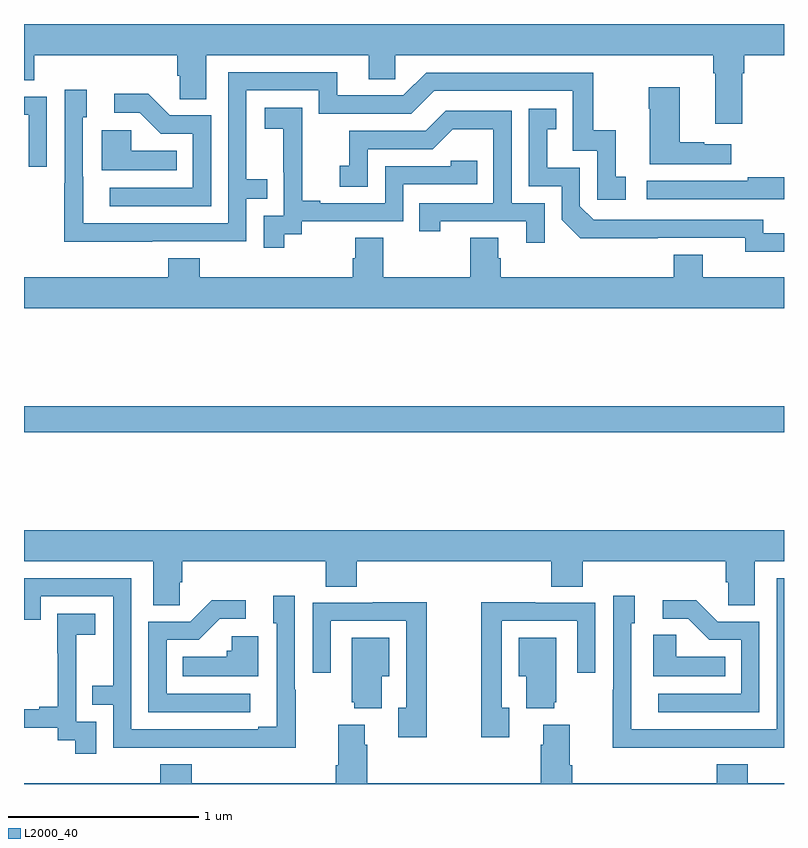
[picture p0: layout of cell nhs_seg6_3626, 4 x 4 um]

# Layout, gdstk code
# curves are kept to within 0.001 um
import gdstk
lib = gdstk.Library(unit=1e-6, precision=1e-09)
def R(c, l, rs):  # rectangles x0, y0, x1, y1
    for r in rs: c.add(gdstk.rectangle(r[:2], r[2:], *l))
def P(c, l, *ps):  # polygons
    for p in ps: c.add(gdstk.Polygon(p, *l))
L2000_40 = (2000, 40)

nhs_seg6_3626 = lib.new_cell('nhs_seg6_3626')
R(nhs_seg6_3626, L2000_40, [(323,945.352,327,945.488)])
P(nhs_seg6_3626, L2000_40, [(326.779,947.24),(326.792,947.24),(326.792,947.336),(327,947.336),(327,947.5),(323,947.5),(323,947.203),(323.054,947.203),(323.054,947.336),(323.807,947.336),(323.807,947.227),(323.82,947.227),(323.82,947.104),(323.959,947.104),(323.959,947.336),(324.815,947.336),(324.815,947.209),(324.954,947.209),(324.954,947.336),(326.627,947.336),(326.627,947.24),(326.639,947.24),(326.639,946.974),(326.779,946.974)],
  [(323.675,946.356),(324.171,946.356),(324.171,946.581),(324.281,946.581),(324.281,946.682),(324.171,946.682),(324.171,947.151),(324.552,947.151),(324.552,947.028),(325.038,947.028),(325.158,947.148),(325.887,947.148),(325.887,946.833),(326.016,946.833),(326.016,946.575),(326.167,946.575),(326.167,946.695),(326.114,946.695),(326.114,946.942),(325.996,946.942),(325.996,947.244),(325.116,947.244),(324.996,947.124),(324.649,947.124),(324.649,947.247),(324.075,947.247),(324.075,946.452),(323.311,946.452),(323.31,947.01),(323.329,947.01),(323.329,947.155),(323.214,947.155),(323.214,946.661),(323.212,946.661),(323.212,946.355)],
  [(326.722,946.867),(326.579,946.867),(326.579,946.877),(326.452,946.877),(326.452,947.167),(326.287,947.167),(326.287,947.054),(326.294,947.054),(326.294,946.763),(326.722,946.763)],
  [(323.985,947.019),(323.766,947.019),(323.653,947.132),(323.475,947.132),(323.475,947.034),(323.609,947.034),(323.72,946.923),(323.889,946.923),(323.889,946.638),(323.451,946.638),(323.451,946.542),(323.985,946.542)],
  [(323.121,947.118),(323,947.118),(323,947.022),(323.025,947.022),(323.025,946.749),(323.121,946.749)],
  [(324.37,946.393),(324.462,946.393),(324.462,946.461),(324.996,946.461),(324.996,946.656),(325.385,946.656),(325.385,946.779),(325.245,946.779),(325.245,946.752),(324.9,946.752),(324.9,946.557),(324.559,946.557),(324.559,946.57),(324.464,946.57),(324.464,946.853),(324.465,946.853),(324.465,947.059),(324.267,947.059),(324.267,946.949),(324.365,946.949),(324.365,946.721),(324.366,946.721),(324.366,946.491),(324.261,946.491),(324.261,946.323),(324.37,946.323)],
  [(327,946.398),(326.892,946.398),(326.892,946.47),(325.998,946.47),(325.926,946.542),(325.926,946.743),(325.753,946.743),(325.753,946.947),(325.802,946.947),(325.802,947.053),(325.656,947.053),(325.656,946.647),(325.83,946.647),(325.83,946.47),(325.928,946.373),(326.796,946.374),(326.796,946.301),(327,946.301)],
  [(325.74,946.557),(325.566,946.557),(325.566,947.043),(325.22,947.043),(325.115,946.938),(324.712,946.938),(324.712,946.753),(324.663,946.753),(324.663,946.644),(324.81,946.644),(324.81,946.842),(325.152,946.842),(325.256,946.946),(325.47,946.946),(325.47,946.557),(325.081,946.557),(325.081,946.41),(325.192,946.41),(325.192,946.461),(325.643,946.461),(325.643,946.35),(325.74,946.35)],
  [(323.804,946.834),(323.565,946.834),(323.565,946.942),(323.408,946.942),(323.408,946.73),(323.804,946.73)],
  [(327,946.694),(326.809,946.694),(326.809,946.674),(326.277,946.674),(326.277,946.578),(327,946.578)],
  [(327,946.168),(326.572,946.168),(326.572,946.285),(326.42,946.285),(326.42,946.168),(325.508,946.168),(325.508,946.266),(325.495,946.266),(325.495,946.376),(325.348,946.376),(325.348,946.168),(324.891,946.168),(324.891,946.376),(324.743,946.376),(324.743,946.266),(324.731,946.266),(324.731,946.168),(323.924,946.168),(323.924,946.267),(323.759,946.267),(323.759,946.168),(323,946.168),(323,946.004),(327,946.004)],
  [(323.82,944.563),(323.834,944.563),(323.834,944.672),(324.587,944.672),(324.587,944.539),(324.752,944.539),(324.752,944.672),(325.775,944.672),(325.775,944.539),(325.94,944.539),(325.94,944.672),(326.693,944.672),(326.693,944.563),(326.706,944.563),(326.706,944.44),(326.845,944.44),(326.845,944.672),(327,944.672),(327,944.836),(323,944.836),(323,944.672),(323.681,944.672),(323.681,944.44),(323.82,944.44)],
  [(326.561,943.692),(327,943.692),(327,944.583),(326.961,944.583),(326.961,943.788),(326.196,943.788),(326.196,944.346),(326.215,944.346),(326.215,944.491),(326.1,944.491),(326.1,943.997),(326.098,943.997),(326.098,943.691),(326.561,943.691)],
  [(324.429,943.997),(324.426,943.997),(324.426,944.491),(324.311,944.491),(324.311,944.346),(324.33,944.346),(324.33,943.801),(324.233,943.801),(324.233,943.788),(323.565,943.788),(323.565,944.583),(323,944.583),(323,944.364),(323.088,944.364),(323.088,944.487),(323.469,944.487),(323.469,944.018),(323.359,944.018),(323.359,943.917),(323.469,943.917),(323.469,943.692),(323.965,943.692),(323.965,943.691),(324.429,943.691)],
  [(324.19,943.974),(323.751,943.974),(323.751,944.259),(323.92,944.259),(324.031,944.37),(324.166,944.37),(324.166,944.468),(323.987,944.468),(323.874,944.355),(323.655,944.355),(323.655,943.878),(324.19,943.878)],
  [(326.871,944.355),(326.652,944.355),(326.539,944.468),(326.361,944.468),(326.361,944.37),(326.495,944.37),(326.606,944.259),(326.775,944.259),(326.775,943.974),(326.337,943.974),(326.337,943.878),(326.871,943.878)],
  [(325.12,944.456),(324.835,944.456),(324.835,944.454),(324.519,944.454),(324.519,944.085),(324.615,944.085),(324.615,944.358),(325.011,944.358),(325.011,943.902),(324.971,943.902),(324.971,943.746),(325.12,943.746)],
  [(325.555,943.902),(325.515,943.902),(325.515,944.358),(325.911,944.358),(325.911,944.085),(326.007,944.085),(326.007,944.454),(325.691,944.454),(325.691,944.456),(325.407,944.456),(325.407,943.746),(325.555,943.746)],
  [(323.379,943.827),(323.274,943.827),(323.274,944.057),(323.276,944.057),(323.276,944.285),(323.374,944.285),(323.374,944.395),(323.176,944.395),(323.176,944.189),(323.177,944.189),(323.177,943.906),(323.081,943.906),(323.081,943.893),(323,943.893),(323,943.797),(323.178,943.797),(323.178,943.729),(323.271,943.729),(323.271,943.659),(323.379,943.659)],
  [(326.69,944.17),(326.433,944.17),(326.433,944.285),(326.312,944.285),(326.312,944.066),(326.69,944.066)],
  [(324.232,944.278),(324.093,944.278),(324.093,944.202),(324.067,944.202),(324.067,944.17),(323.836,944.17),(323.836,944.066),(324.232,944.066)],
  [(325.79,943.929),(325.801,943.929),(325.801,944.269),(325.604,944.269),(325.604,944.066),(325.643,944.066),(325.643,943.898),(325.79,943.898)],
  [(324.883,944.066),(324.922,944.066),(324.922,944.269),(324.725,944.269),(324.725,943.929),(324.737,943.929),(324.737,943.898),(324.883,943.898)],
  [(327,943.504),(326.81,943.504),(326.81,943.603),(326.645,943.603),(326.645,943.504),(325.886,943.504),(325.886,943.6),(325.873,943.6),(325.873,943.813),(325.733,943.813),(325.733,943.706),(325.721,943.706),(325.721,943.504),(324.806,943.504),(324.806,943.706),(324.793,943.706),(324.793,943.813),(324.653,943.813),(324.653,943.6),(324.641,943.6),(324.641,943.504),(323.882,943.504),(323.882,943.603),(323.717,943.603),(323.717,943.504),(323,943.504),(323,943.5),(327,943.5)])

lib.write_gds('nhs_seg6_3626.gds')
